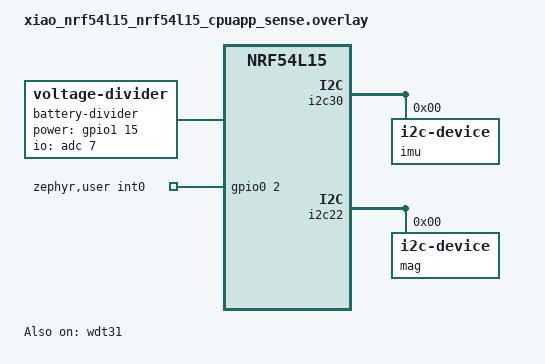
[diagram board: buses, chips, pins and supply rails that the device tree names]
/*
 * SlimeNRF tracker adaptation of the Seeed Studio XIAO nRF54L15 Sense,
 * selected with -DFILE_SUFFIX=sense.
 * Sense variant: onboard LSM6DS3TR-C 6DOF IMU on i2c30 (interrupt on
 * P0.02) powered by the P0.01 sensor rail, plus an MSM261DGT006 PDM
 * microphone (unused by the tracker firmware). The IMU address is left
 * at 0 (auto-scan, stored address first): pin-to-pin replacement IMUs
 * are expected on this bus. An external magnetometer can be attached to
 * the XIAO I2C pins (D4/D5 = i2c22).
 */
&pdm20 {
	status = "disabled";
};

&uart21 {
	status = "disabled";
};

/* Use SlimeNRF's own register driver (LSM6DSM covers the LSM6DS3TR-C
 * WHO_AM_I 0x6a), not Zephyr's st,lsm6dsl driver.
 */
&lsm6ds3tr_c {
	status = "disabled";
	/delete-property/ irq-gpios;
};

/* No external SPI IMU wiring on the Sense variant: the SPI pins D8/D9/D10
 * stay free and the sensor scan runs I2C-only.
 */
&spi00 {
	status = "disabled";
};

/* The upstream board only aliases watchdog0 to wdt31 but leaves the node
 * disabled; the tracker watchdog thread expects the device to exist.
 */
&wdt31 {
	status = "okay";
};

/* Battery sense: hand the TPS22916 load-switch GPIO (P1.15) to the app's
 * voltage-divider node instead of the always-on board regulator, so the
 * /2 divider on AIN7 (P1.14) only draws power while sampling.
 */
&vbat_pwr {
	status = "disabled";
};

/ {
	battery-divider {
		compatible = "voltage-divider";
		status = "okay";
		io-channels = <&adc 7>;
		/* VBAT through the TPS22916 load switch into a /2 divider on
		 * AIN7; Seeed's battery example scales the reading by 2.
		 */
		output-ohms = <1000000>;
		full-ohms = <(1000000+1000000)>;
		power-gpios = <&gpio1 15 GPIO_ACTIVE_HIGH>;
	};

	zephyr,user {
		/* Onboard LSM6DS3TR-C interrupt (INT1 = P0.02). */
		int0-gpios = <&gpio0 2 GPIO_ACTIVE_HIGH>;
	};
};

&i2c30 {
	zephyr,concat-buf-size = <1023>;
	zephyr,flash-buf-max-size = <1023>;

	/* reg = <0> scans every supported IMU address (stored address first),
	 * so a pin-to-pin replacement IMU is picked up without a rebuild
	 * change; stock boards find the LSM6DS3TR-C at 0x6a.
	 */
	imu: imu@0 {
		compatible = "i2c-device";
		reg = <0>;
	};
};

&i2c22 {
	zephyr,concat-buf-size = <1023>;
	zephyr,flash-buf-max-size = <1023>;

	mag: mag@0 {
		compatible = "i2c-device";
		reg = <0>;
	};
};
